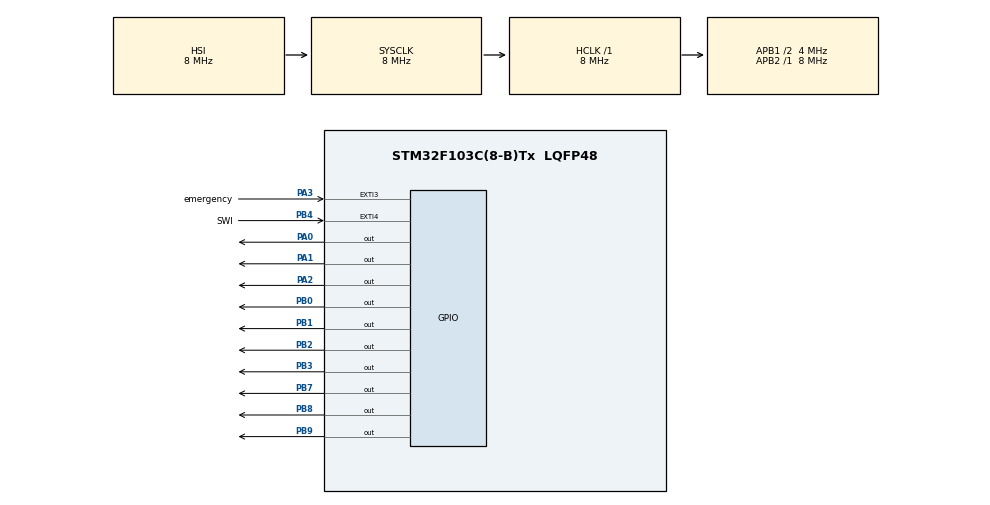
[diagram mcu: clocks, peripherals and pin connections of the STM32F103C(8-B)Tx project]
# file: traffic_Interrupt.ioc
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Mcu.Family=STM32F1
Mcu.Name=STM32F103C(8-B)Tx
Mcu.Package=LQFP48
NVIC.EXTI3_IRQn=true\:1\:0\:true\:false\:true\:true\:true\:true
NVIC.EXTI4_IRQn=true\:0\:0\:false\:false\:true\:true\:true\:true
NVIC.PriorityGroup=NVIC_PRIORITYGROUP_4
NVIC.RCC_IRQn=true\:0\:0\:false\:false\:true\:true\:false\:true
PA0-WKUP.Signal=GPIO_Output
PA1.Signal=GPIO_Output
PA2.Signal=GPIO_Output
PA3.GPIO_Label=emergency
PA3.GPIO_PuPd=GPIO_PULLDOWN
PA3.Signal=GPXTI3
PB0.Signal=GPIO_Output
PB1.Signal=GPIO_Output
PB2.Signal=GPIO_Output
PB3.Signal=GPIO_Output
PB4.GPIO_Label=SWI
PB4.GPIO_PuPd=GPIO_PULLDOWN
PB4.Signal=GPXTI4
PB7.Signal=GPIO_Output
PB8.Signal=GPIO_Output
PB9.Signal=GPIO_Output
PD0-OSC_IN.Mode=HSE-External-Oscillator
PD0-OSC_IN.Signal=RCC_OSC_IN
PD1-OSC_OUT.Mode=HSE-External-Oscillator
PD1-OSC_OUT.Signal=RCC_OSC_OUT
ProjectManager.HeapSize=0x200
ProjectManager.StackSize=0x400
ProjectManager.TargetToolchain=STM32CubeIDE
RCC.AHBFreq_Value=8000000
RCC.APB1CLKDivider=RCC_HCLK_DIV2
RCC.APB1Freq_Value=4000000
RCC.APB1TimFreq_Value=8000000
RCC.APB2Freq_Value=8000000
RCC.APB2TimFreq_Value=8000000
RCC.HCLKFreq_Value=8000000
RCC.SYSCLKFreq_VALUE=8000000
RCC.USBFreq_Value=8000000
VP_SYS_VS_ND.Mode=No_Debug
board=custom

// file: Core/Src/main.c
/* USER CODE BEGIN Header */
/**
  ******************************************************************************
  * @file           : main.c
  * @brief          : Main program body
  ******************************************************************************
  * @attention
  *
  * Copyright (c) 2025 STMicroelectronics.
  * All rights reserved.
  *
  * This software is licensed under terms that can be found in the LICENSE file
  * in the root directory of this software component.
  * If no LICENSE file comes with this software, it is provided AS-IS.
  *
  ******************************************************************************
  */
/* USER CODE END Header */
#include "main.h"
#include "stm32f1xx_hal.h"
#include "stm32f1xx_hal_gpio.h"
#include "stm32f1xx_hal_rcc.h"
#include <stdint.h>

/* USER CODE BEGIN Includes */

#include "../../LCD/LCD.h"
/* USER CODE END Includes */

/* USER CODE BEGIN PTD */

typedef enum {RED, YELLOW, GREEN} TrafficState;
TrafficState currentState = RED;
/* USER CODE END PTD */

/* USER CODE BEGIN PD */

#define GREEN_LED_PIN GPIO_PIN_0
#define GREEN_LED_PORT GPIOA
#define RED_LED_PIN GPIO_PIN_1
#define RED_LED_PORT GPIOA
#define YELLOW_LED_PIN GPIO_PIN_2
#define YELLOW_LED_PORT GPIOA

/* USER CODE END PD */

/* USER CODE BEGIN PV */
uint8_t traffic_on = 0;
uint8_t emergency_stop = 0;
uint32_t lastChange = 0;

/* USER CODE END PV */

void SystemClock_Config(void);
static void MX_GPIO_Init(void);
/* USER CODE BEGIN PFP */
void traffic_sequence(void);
void update_traffic(void);

/* USER CODE END PFP */

int main(void)
{

  /* MCU Configuration--------------------------------------------------------*/

  /* Reset of all peripherals, Initializes the Flash interface and the Systick. */
  HAL_Init();

  /* Configure the system clock */
  SystemClock_Config();

  /* Initialize all configured peripherals */
  MX_GPIO_Init();
  /* USER CODE BEGIN 2 */

  lcd_init();
  lcd_clear();
  /* USER CODE END 2 */

  /* Infinite loop */
  while (1)
  {

	    /* USER CODE END WHILE */
		  if (traffic_on){
	      if (emergency_stop)
	      {
	    	  lcd_clear();
	    	  lcd_put_cur(0,0);
	    	  lcd_send_string("emergency");
	          HAL_GPIO_WritePin(RED_LED_PORT, RED_LED_PIN, GPIO_PIN_SET);
	          HAL_GPIO_WritePin(GPIOA, GREEN_LED_PIN | YELLOW_LED_PIN, GPIO_PIN_RESET);

	      }
	      else if (traffic_on)
	      {

	    	  lcd_clear();
	    	  lcd_put_cur(0,0);
	    	  lcd_send_string("traffic on");
	          traffic_sequence(); // Run full sequence
	      }
		  }
	      else
	      {

	    	  lcd_clear();
	    	  lcd_put_cur(0,0);
	    	  lcd_send_string("traffic OFF");
	          HAL_GPIO_WritePin(RED_LED_PORT, RED_LED_PIN, GPIO_PIN_RESET);
	          HAL_GPIO_WritePin(GREEN_LED_PORT, GREEN_LED_PIN , GPIO_PIN_RESET);
	          HAL_GPIO_WritePin(YELLOW_LED_PORT, YELLOW_LED_PIN, GPIO_PIN_RESET);

	      }
  }
}
void traffic_sequence(void)
{
    // RED
    HAL_GPIO_WritePin(RED_LED_PORT, RED_LED_PIN, GPIO_PIN_SET);
    HAL_GPIO_WritePin(GPIOA, GREEN_LED_PIN | YELLOW_LED_PIN, GPIO_PIN_RESET);
    lcd_put_cur(1,0);
    lcd_clear_row(1);
    lcd_send_string("RED");
    for (int i = 0; i < 2000; i += 50) {
        HAL_Delay(50);
        if (!traffic_on || emergency_stop) return;
    }

    // YELLOW
    HAL_GPIO_WritePin(YELLOW_LED_PORT, YELLOW_LED_PIN, GPIO_PIN_SET);
    HAL_GPIO_WritePin(GPIOA, RED_LED_PIN | GREEN_LED_PIN, GPIO_PIN_RESET);
    lcd_put_cur(1,0);
    lcd_clear_row(1);
    lcd_send_string("YELLOW");
    for (int i = 0; i < 2000; i += 50) {
        HAL_Delay(50);
        if (!traffic_on || emergency_stop) return;
    }

    // GREEN
    HAL_GPIO_WritePin(GREEN_LED_PORT, GREEN_LED_PIN, GPIO_PIN_SET);
    HAL_GPIO_WritePin(GPIOA, RED_LED_PIN | YELLOW_LED_PIN, GPIO_PIN_RESET);
    lcd_put_cur(1,0);
    lcd_clear_row(1);
    lcd_send_string("GREEN");
    for (int i = 0; i < 2000; i += 50) {
        HAL_Delay(50);
        if (!traffic_on || emergency_stop) return;
    }
}

void SystemClock_Config(void)
{
  RCC_OscInitTypeDef RCC_OscInitStruct = {0};
  RCC_ClkInitTypeDef RCC_ClkInitStruct = {0};

  /** Initializes the RCC Oscillators according to the specified parameters
  * in the RCC_OscInitTypeDef structure.
  */
  RCC_OscInitStruct.OscillatorType = RCC_OSCILLATORTYPE_HSI;
  RCC_OscInitStruct.HSIState = RCC_HSI_ON;
  RCC_OscInitStruct.HSICalibrationValue = RCC_HSICALIBRATION_DEFAULT;
  RCC_OscInitStruct.PLL.PLLState = RCC_PLL_NONE;
  if (HAL_RCC_OscConfig(&RCC_OscInitStruct) != HAL_OK)
  {
    Error_Handler();
  }

  /** Initializes the CPU, AHB and APB buses clocks
  */
  RCC_ClkInitStruct.ClockType = RCC_CLOCKTYPE_HCLK|RCC_CLOCKTYPE_SYSCLK
                              |RCC_CLOCKTYPE_PCLK1|RCC_CLOCKTYPE_PCLK2;
  RCC_ClkInitStruct.SYSCLKSource = RCC_SYSCLKSOURCE_HSI;
  RCC_ClkInitStruct.AHBCLKDivider = RCC_SYSCLK_DIV1;
  RCC_ClkInitStruct.APB1CLKDivider = RCC_HCLK_DIV2;
  RCC_ClkInitStruct.APB2CLKDivider = RCC_HCLK_DIV1;

  if (HAL_RCC_ClockConfig(&RCC_ClkInitStruct, FLASH_LATENCY_0) != HAL_OK)
  {
    Error_Handler();
  }
}

static void MX_GPIO_Init(void)
{
  GPIO_InitTypeDef GPIO_InitStruct = {0};

  /* GPIO Ports Clock Enable */
  __HAL_RCC_GPIOD_CLK_ENABLE();
  __HAL_RCC_GPIOA_CLK_ENABLE();
  __HAL_RCC_GPIOB_CLK_ENABLE();

  /*Configure GPIO pin Output Level */
  HAL_GPIO_WritePin(GPIOA, GPIO_PIN_0|GPIO_PIN_1|GPIO_PIN_2, GPIO_PIN_RESET);

  /*Configure GPIO pin Output Level */
  HAL_GPIO_WritePin(GPIOB, GPIO_PIN_0|GPIO_PIN_1|GPIO_PIN_2|GPIO_PIN_3
                          |GPIO_PIN_7|GPIO_PIN_8|GPIO_PIN_9, GPIO_PIN_RESET);

  /*Configure GPIO pins : PA0 PA1 PA2 */
  GPIO_InitStruct.Pin = GPIO_PIN_0|GPIO_PIN_1|GPIO_PIN_2;
  GPIO_InitStruct.Mode = GPIO_MODE_OUTPUT_PP;
  GPIO_InitStruct.Pull = GPIO_NOPULL;
  GPIO_InitStruct.Speed = GPIO_SPEED_FREQ_LOW;
  HAL_GPIO_Init(GPIOA, &GPIO_InitStruct);

  /*Configure GPIO pin : emergency_Pin */
  GPIO_InitStruct.Pin = emergency_Pin;
  GPIO_InitStruct.Mode = GPIO_MODE_IT_RISING;
  GPIO_InitStruct.Pull = GPIO_PULLDOWN;
  HAL_GPIO_Init(emergency_GPIO_Port, &GPIO_InitStruct);

  /*Configure GPIO pins : PB0 PB1 PB2 PB3
                           PB7 PB8 PB9 */
  GPIO_InitStruct.Pin = GPIO_PIN_0|GPIO_PIN_1|GPIO_PIN_2|GPIO_PIN_3
                          |GPIO_PIN_7|GPIO_PIN_8|GPIO_PIN_9;
  GPIO_InitStruct.Mode = GPIO_MODE_OUTPUT_PP;
  GPIO_InitStruct.Pull = GPIO_NOPULL;
  GPIO_InitStruct.Speed = GPIO_SPEED_FREQ_LOW;
  HAL_GPIO_Init(GPIOB, &GPIO_InitStruct);

  /*Configure GPIO pin : SWI_Pin */
  GPIO_InitStruct.Pin = SWI_Pin;
  GPIO_InitStruct.Mode = GPIO_MODE_IT_RISING;
  GPIO_InitStruct.Pull = GPIO_PULLDOWN;
  HAL_GPIO_Init(SWI_GPIO_Port, &GPIO_InitStruct);

  /* EXTI interrupt init*/
  HAL_NVIC_SetPriority(EXTI3_IRQn, 1, 0);
  HAL_NVIC_EnableIRQ(EXTI3_IRQn);

  HAL_NVIC_SetPriority(EXTI4_IRQn, 0, 0);
  HAL_NVIC_EnableIRQ(EXTI4_IRQn);

}

/* USER CODE BEGIN 4 */

void HAL_GPIO_EXTI_Callback(uint16_t GPIO_Pin)
{
    if(GPIO_Pin == emergency_Pin) {
        emergency_stop ^= 1;   // Toggle emergency

    }
    if(GPIO_Pin == SWI_Pin) {
            traffic_on ^= 1;

    }
}
/* USER CODE END 4 */

void Error_Handler(void)
{
  __disable_irq();
  while (1)
  {
  }
}
